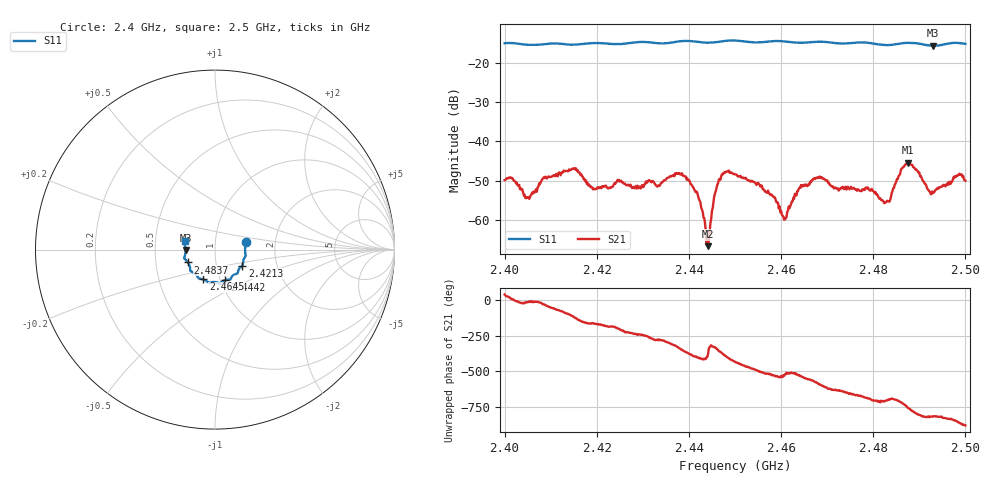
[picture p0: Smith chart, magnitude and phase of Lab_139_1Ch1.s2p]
# Hz S RI R 50
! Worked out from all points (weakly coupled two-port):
!   601 points, 2.4 GHz to 2.5 GHz, reference 50 ohm
!   highest |S21| = -45.46 dB at 2.4875 GHz (marker M1); lowest = -66.7 dB at 2.4442 GHz (marker M2)
!   lowest |S11| = -15.7 dB at 2.493 GHz (marker M3), VSWR 1.39, Z = 35.9 - j0.224 ohm
!   |S11| at or under -10 dB: start of sweep to end of sweep
!   S12 and S22 are empty: the file has one direction only
!   S11 on the Smith chart (normalised r, x): 2.4 GHz: 1.41, +0.12; 2.4213 GHz: 1.33, -0.25; 2.4442 GHz: 1.05, -0.37; 2.4645 GHz: 0.83, -0.29; 2.4837 GHz: 0.73, -0.11; 2.5 GHz: 0.71, +0.07
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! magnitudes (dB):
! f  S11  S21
! 2.4 GHz  -15.1  -49.9
! 2.405 GHz  -15.5  -54.3
! 2.4085 GHz  -15.4  -49.2
! 2.4167 GHz  -15.3  -48.5
! 2.4213 GHz  -15.1  -51.6
! 2.4333 GHz  -15.1  -51.2
! 2.4375 GHz  -14.7  -48.3
! 2.4397 GHz  -14.5  -49.5
! 2.442 GHz  -14.8  -54.0
! 2.4442 GHz  -15.0  -66.7
! 2.4455 GHz  -14.9  -53.9
! 2.4467 GHz  -14.7  -49.6
! 2.45 GHz  -14.4  -48.4
! 2.4582 GHz  -14.6  -54.0
! 2.4607 GHz  -14.6  -59.9
! 2.4645 GHz  -15.0  -51.6
! 2.4667 GHz  -14.8  -50.0
! 2.4833 GHz  -15.6  -55.2
! 2.4837 GHz  -15.5  -54.9
! 2.4875 GHz  -15.0  -45.5
! 2.493 GHz  -15.7  -53.1
! 2.5 GHz  -15.3  -50.0
